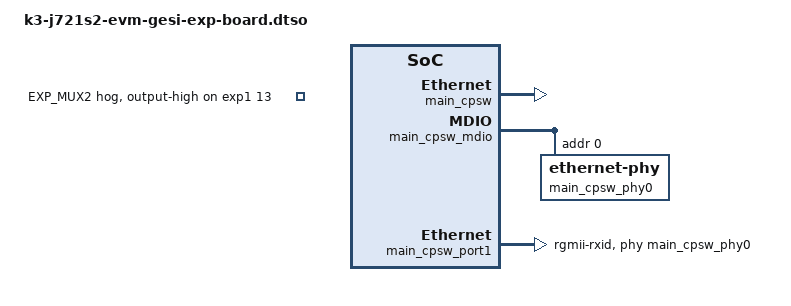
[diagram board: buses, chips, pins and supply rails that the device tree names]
// SPDX-License-Identifier: GPL-2.0-only OR MIT
/**
 * DT Overlay for MAIN CPSW2G using GESI Expansion Board with J7 common processor board.
 *
 * GESI Board Product Link: https://www.ti.com/tool/J7EXPCXEVM
 *
 * Copyright (C) 2023-2024 Texas Instruments Incorporated - https://www.ti.com/
 */

/dts-v1/;
/plugin/;

#include <dt-bindings/gpio/gpio.h>
#include <dt-bindings/net/ti-dp83867.h>

#include "k3-pinctrl.h"

&{/} {
	aliases {
		ethernet1 = "/bus@100000/ethernet@c200000/ethernet-ports/port@1";
	};
};

&main_pmx0 {
	main_cpsw_mdio_default_pins: main-cpsw-mdio-default-pins {
		pinctrl-single,pins = <
			J721S2_IOPAD(0x0c0, PIN_OUTPUT, 6) /* (T28) MCASP1_AXR0.MDIO0_MDC */
			J721S2_IOPAD(0x0bc, PIN_INPUT, 6) /* (V28) MCASP1_AFSX.MDIO0_MDIO */
		>;
	};

	rgmii1_default_pins: rgmii1-default-pins {
		pinctrl-single,pins = <
			J721S2_IOPAD(0x0b8, PIN_INPUT, 6) /* (AA24) MCASP1_ACLKX.RGMII1_RD0 */
			J721S2_IOPAD(0x0a0, PIN_INPUT, 6) /* (AB25) MCASP0_AXR12.RGMII1_RD1 */
			J721S2_IOPAD(0x0a4, PIN_INPUT, 6) /* (T23) MCASP0_AXR13.RGMII1_RD2 */
			J721S2_IOPAD(0x0a8, PIN_INPUT, 6) /* (U24) MCASP0_AXR14.RGMII1_RD3 */
			J721S2_IOPAD(0x0b0, PIN_INPUT, 6) /* (AD26) MCASP1_AXR3.RGMII1_RXC */
			J721S2_IOPAD(0x0ac, PIN_INPUT, 6) /* (AC25) MCASP0_AXR15.RGMII1_RX_CTL */
			J721S2_IOPAD(0x08c, PIN_OUTPUT, 6) /* (T25) MCASP0_AXR7.RGMII1_TD0 */
			J721S2_IOPAD(0x090, PIN_OUTPUT, 6) /* (W24) MCASP0_AXR8.RGMII1_TD1 */
			J721S2_IOPAD(0x094, PIN_OUTPUT, 6) /* (AA25) MCASP0_AXR9.RGMII1_TD2 */
			J721S2_IOPAD(0x098, PIN_OUTPUT, 6) /* (V25) MCASP0_AXR10.RGMII1_TD3 */
			J721S2_IOPAD(0x0b4, PIN_OUTPUT, 6) /* (U25) MCASP1_AXR4.RGMII1_TXC */
			J721S2_IOPAD(0x09c, PIN_OUTPUT, 6) /* (T24) MCASP0_AXR11.RGMII1_TX_CTL */
		>;
	};
};

&exp1 {
	p15 {
		/* P15 - EXP_MUX2 */
		gpio-hog;
		gpios = <13 GPIO_ACTIVE_HIGH>;
		output-high;
		line-name = "EXP_MUX2";
	};
};

&main_cpsw {
	status = "okay";
	pinctrl-names = "default";
	pinctrl-0 = <&rgmii1_default_pins>;
};

&main_cpsw_mdio {
	status = "okay";
	pinctrl-names = "default";
	pinctrl-0 = <&main_cpsw_mdio_default_pins>;
	#address-cells = <1>;
	#size-cells = <0>;

	main_cpsw_phy0: ethernet-phy@0 {
		reg = <0>;
		ti,rx-internal-delay = <DP83867_RGMIIDCTL_2_00_NS>;
		ti,fifo-depth = <DP83867_PHYCR_FIFO_DEPTH_4_B_NIB>;
		ti,min-output-impedance;
	};
};

&main_cpsw_port1 {
	status = "okay";
	phy-mode = "rgmii-rxid";
	phy-handle = <&main_cpsw_phy0>;
};
